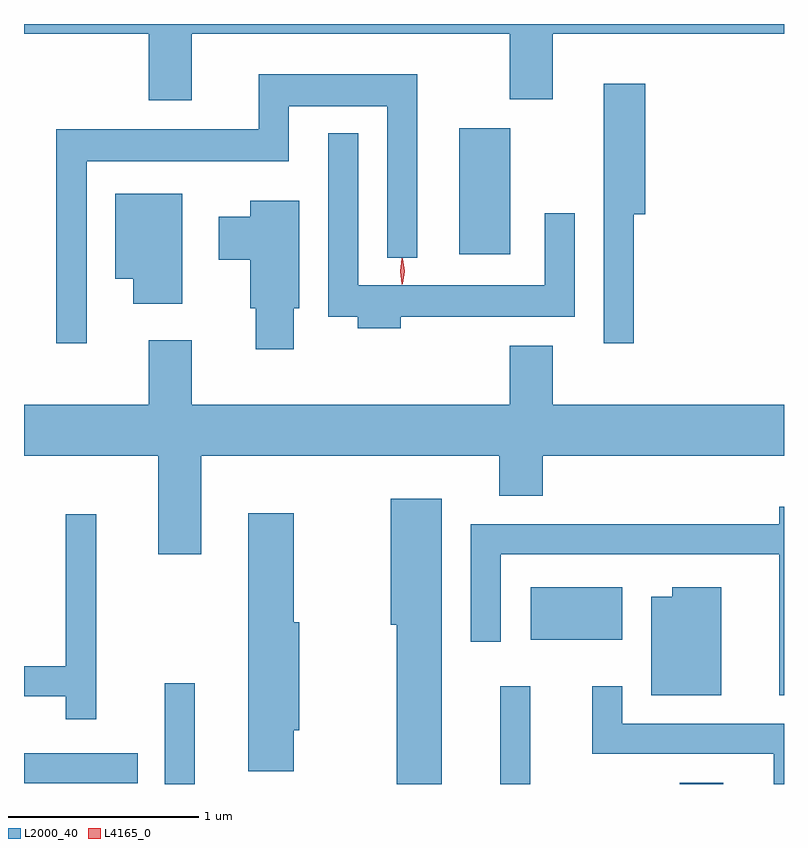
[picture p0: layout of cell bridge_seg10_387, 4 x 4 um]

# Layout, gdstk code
import gdstk
lib = gdstk.Library(unit=1e-6, precision=1e-09)
def R(c, l, rs):  # rectangles x0, y0, x1, y1
    for r in rs: c.add(gdstk.rectangle(r[:2], r[2:], *l))
def P(c, l, *ps):  # polygons
    for p in ps: c.add(gdstk.Polygon(p, *l))
L2000_40 = (2000, 40)
L4165_0 = (4165, 0)

bridge_seg10_387 = lib.new_cell('bridge_seg10_387')
R(bridge_seg10_387, L2000_40, [(1370.326,2141.048,1370.484,2141.578), (1372.091,2141.048,1372.249,2141.563), (1373.036,2141.048,1373.264,2141.054), (1369.585,2141.051,1370.183,2141.209), (1372.251,2141.806,1372.734,2142.084), (1371.876,2143.836,1372.144,2144.499)])
P(bridge_seg10_387, L2000_40, [(1370.469,2144.996),(1372.141,2144.996),(1372.141,2144.651),(1372.369,2144.651),(1372.369,2144.996),(1373.585,2144.996),(1373.585,2145.048),(1369.585,2145.048),(1369.585,2144.996),(1370.241,2144.996),(1370.241,2144.646),(1370.469,2144.646)],
  [(1369.914,2144.326),(1370.979,2144.326),(1370.979,2144.616),(1371.496,2144.616),(1371.496,2143.818),(1371.654,2143.818),(1371.654,2144.784),(1370.821,2144.784),(1370.821,2144.494),(1369.756,2144.494),(1369.756,2143.368),(1369.914,2143.368)],
  [(1372.794,2144.046),(1372.854,2144.046),(1372.854,2144.734),(1372.636,2144.734),(1372.636,2143.368),(1372.794,2143.368)],
  [(1371.569,2143.506),(1372.484,2143.506),(1372.484,2144.053),(1372.326,2144.053),(1372.326,2143.674),(1371.344,2143.674),(1371.344,2144.473),(1371.186,2144.473),(1371.186,2143.506),(1371.341,2143.506),(1371.341,2143.446),(1371.569,2143.446)],
  [(1370.419,2144.154),(1370.066,2144.154),(1370.066,2143.706),(1370.161,2143.706),(1370.161,2143.576),(1370.419,2143.576)],
  [(1371.004,2143.551),(1371.034,2143.551),(1371.034,2144.119),(1370.776,2144.119),(1370.776,2144.034),(1370.611,2144.034),(1370.611,2143.806),(1370.776,2143.806),(1370.776,2143.551),(1370.806,2143.551),(1370.806,2143.336),(1371.004,2143.336)],
  [(1370.519,2142.776),(1372.086,2142.776),(1372.086,2142.566),(1372.314,2142.566),(1372.314,2142.776),(1373.585,2142.776),(1373.585,2143.044),(1372.369,2143.044),(1372.369,2143.354),(1372.141,2143.354),(1372.141,2143.044),(1370.469,2143.044),(1370.469,2143.384),(1370.241,2143.384),(1370.241,2143.044),(1369.585,2143.044),(1369.585,2142.776),(1370.291,2142.776),(1370.291,2142.256),(1370.519,2142.256)],
  [(1371.784,2142.549),(1371.516,2142.549),(1371.516,2141.886),(1371.546,2141.886),(1371.546,2141.048),(1371.784,2141.048)],
  [(1373.585,2142.508),(1373.561,2142.508),(1373.561,2142.414),(1371.936,2142.414),(1371.936,2141.798),(1372.094,2141.798),(1372.094,2142.256),(1373.561,2142.256),(1373.561,2141.516),(1373.585,2141.516)],
  [(1371.004,2141.331),(1371.034,2141.331),(1371.034,2141.899),(1371.004,2141.899),(1371.004,2142.474),(1370.766,2142.474),(1370.766,2141.116),(1371.004,2141.116)],
  [(1369.964,2142.468),(1369.806,2142.468),(1369.806,2141.669),(1369.585,2141.669),(1369.585,2141.511),(1369.806,2141.511),(1369.806,2141.388),(1369.964,2141.388)],
  [(1373.254,2142.084),(1372.996,2142.084),(1372.996,2142.034),(1372.886,2142.034),(1372.886,2141.516),(1373.254,2141.516)],
  [(1373.585,2141.364),(1372.734,2141.364),(1372.734,2141.563),(1372.576,2141.563),(1372.576,2141.206),(1373.531,2141.206),(1373.531,2141.048),(1373.585,2141.048)])
P(bridge_seg10_387, L4165_0, [(1371.575,2143.677),(1371.574,2143.678),(1371.565,2143.747),(1371.574,2143.816),(1371.575,2143.816),(1371.575,2143.816),(1371.585,2143.747),(1371.575,2143.678)],
  [(1371.578,2143.68),(1371.578,2143.68),(1371.568,2143.746),(1371.578,2143.813),(1371.578,2143.813),(1371.578,2143.813),(1371.588,2143.746),(1371.578,2143.68)])

lib.write_gds('bridge_seg10_387.gds')
